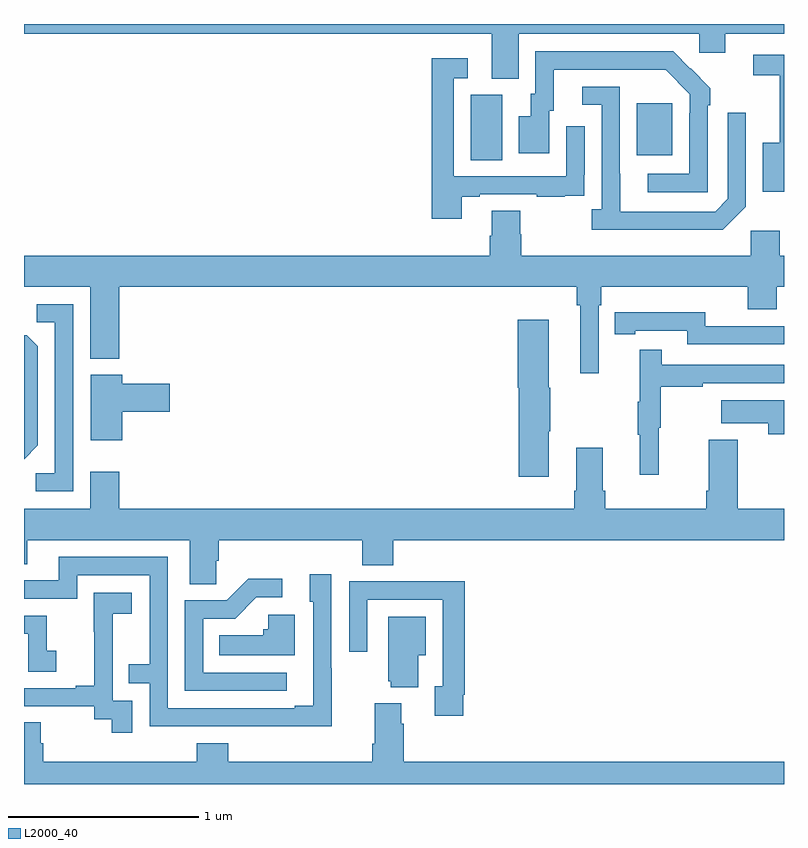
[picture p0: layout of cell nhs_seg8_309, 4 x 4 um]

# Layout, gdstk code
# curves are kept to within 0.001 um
import gdstk
lib = gdstk.Library(unit=1e-6, precision=1e-09)
def R(c, l, rs):  # rectangles x0, y0, x1, y1
    for r in rs: c.add(gdstk.rectangle(r[:2], r[2:], *l))
def P(c, l, *ps):  # polygons
    for p in ps: c.add(gdstk.Polygon(p, *l))
L2000_40 = (2000, 40)

nhs_seg8_309 = lib.new_cell('nhs_seg8_309')
R(nhs_seg8_309, L2000_40, [(133.352,1101.184,133.516,1101.528), (134.225,1101.209,134.413,1101.484)])
P(nhs_seg8_309, L2000_40, [(133.603,1101.848),(134.553,1101.848),(134.553,1101.75),(134.692,1101.75),(134.692,1101.848),(135,1101.848),(135,1101.9),(131,1101.9),(131,1101.848),(133.463,1101.848),(133.463,1101.613),(133.603,1101.613)],
  [(134.598,1101.473),(134.613,1101.473),(134.613,1101.561),(134.416,1101.756),(133.692,1101.756),(133.692,1101.534),(133.667,1101.534),(133.667,1101.415),(133.604,1101.415),(133.604,1101.219),(133.765,1101.219),(133.765,1101.444),(133.789,1101.444),(133.789,1101.66),(134.377,1101.66),(134.505,1101.531),(134.505,1101.431),(134.502,1101.431),(134.502,1101.111),(134.283,1101.111),(134.283,1101.015),(134.598,1101.015)],
  [(135,1101.738),(134.838,1101.738),(134.838,1101.63),(134.978,1101.63),(134.978,1101.274),(134.888,1101.274),(134.888,1101.017),(135,1101.017)],
  [(133.303,1100.991),(133.399,1100.991),(133.399,1101.003),(133.699,1101.003),(133.699,1100.991),(133.847,1100.991),(133.847,1100.997),(133.949,1100.997),(133.949,1101.106),(133.95,1101.106),(133.95,1101.361),(133.854,1101.361),(133.854,1101.099),(133.263,1101.099),(133.263,1101.615),(133.336,1101.615),(133.336,1101.721),(133.147,1101.721),(133.147,1100.874),(133.303,1100.874)],
  [(134.799,1100.937),(134.799,1101.433),(134.703,1101.433),(134.703,1100.979),(134.637,1100.913),(134.137,1100.913),(134.136,1101.57),(133.938,1101.57),(133.938,1101.474),(134.04,1101.474),(134.04,1100.926),(133.989,1100.926),(133.989,1100.816),(134.678,1100.816)],
  [(134.826,1100.812),(134.826,1100.68),(133.616,1100.68),(133.616,1100.793),(133.611,1100.793),(133.611,1100.918),(133.463,1100.918),(133.463,1100.786),(133.451,1100.786),(133.451,1100.68),(131,1100.68),(131,1100.516),(131.348,1100.516),(131.348,1100.138),(131.501,1100.138),(131.501,1100.516),(133.909,1100.516),(133.909,1100.42),(133.928,1100.42),(133.928,1100.061),(134.025,1100.061),(134.025,1100.42),(134.039,1100.42),(134.039,1100.516),(134.81,1100.516),(134.81,1100.399),(134.963,1100.399),(134.963,1100.516),(135,1100.516),(135,1100.68),(134.978,1100.68),(134.978,1100.812)],
  [(131.259,1100.424),(131.068,1100.424),(131.068,1100.329),(131.163,1100.329),(131.163,1099.536),(131.061,1099.536),(131.061,1099.44),(131.259,1099.44)],
  [(135,1100.31),(134.586,1100.31),(134.586,1100.383),(134.218,1100.383),(134.218,1100.382),(134.11,1100.382),(134.11,1100.266),(134.218,1100.266),(134.218,1100.286),(134.49,1100.286),(134.49,1100.214),(135,1100.214)],
  [(133.762,1099.756),(133.77,1099.756),(133.77,1099.986),(133.762,1099.986),(133.762,1100.344),(133.598,1100.344),(133.598,1099.986),(133.604,1099.986),(133.604,1099.518),(133.762,1099.518)],
  [(131.073,1099.682),(131.073,1100.204),(131.014,1100.263),(131,1100.263),(131,1099.609)],
  [(134.342,1099.776),(134.35,1099.776),(134.35,1099.99),(134.573,1099.99),(134.573,1100.01),(135,1100.01),(135,1100.106),(134.357,1100.106),(134.357,1100.185),(134.24,1100.185),(134.24,1099.913),(134.229,1099.913),(134.229,1099.739),(134.24,1099.739),(134.24,1099.527),(134.342,1099.527)],
  [(131.518,1099.859),(131.767,1099.859),(131.767,1100.006),(131.518,1100.006),(131.518,1100.053),(131.351,1100.053),(131.351,1099.71),(131.518,1099.71)],
  [(135,1099.921),(134.669,1099.921),(134.669,1099.799),(134.918,1099.799),(134.918,1099.74),(135,1099.74)],
  [(132.012,1099.075),(132.026,1099.075),(132.026,1099.184),(132.779,1099.184),(132.779,1099.051),(132.944,1099.051),(132.944,1099.184),(135,1099.184),(135,1099.348),(134.756,1099.348),(134.756,1099.711),(134.603,1099.711),(134.603,1099.444),(134.591,1099.444),(134.591,1099.348),(134.06,1099.348),(134.06,1099.444),(134.047,1099.444),(134.047,1099.669),(133.907,1099.669),(133.907,1099.444),(133.895,1099.444),(133.895,1099.348),(131.501,1099.348),(131.501,1099.543),(131.348,1099.543),(131.348,1099.348),(131,1099.348),(131,1099.057),(131.017,1099.057),(131.017,1099.184),(131.873,1099.184),(131.873,1098.952),(132.012,1098.952)],
  [(132.621,1098.509),(132.618,1098.509),(132.618,1099.003),(132.503,1099.003),(132.503,1098.858),(132.522,1098.858),(132.522,1098.313),(132.425,1098.313),(132.425,1098.3),(131.757,1098.3),(131.757,1099.095),(131.183,1099.095),(131.183,1098.972),(131,1098.972),(131,1098.876),(131.28,1098.876),(131.28,1098.999),(131.661,1098.999),(131.661,1098.53),(131.551,1098.53),(131.551,1098.429),(131.661,1098.429),(131.661,1098.204),(132.157,1098.204),(132.157,1098.203),(132.621,1098.203)],
  [(132.382,1098.486),(131.943,1098.486),(131.943,1098.771),(132.112,1098.771),(132.223,1098.882),(132.358,1098.882),(132.358,1098.98),(132.179,1098.98),(132.066,1098.867),(131.847,1098.867),(131.847,1098.39),(132.382,1098.39)],
  [(133.312,1098.37),(133.319,1098.37),(133.319,1098.968),(133.027,1098.968),(133.027,1098.966),(132.711,1098.966),(132.711,1098.597),(132.807,1098.597),(132.807,1098.87),(133.203,1098.87),(133.203,1098.414),(133.163,1098.414),(133.163,1098.258),(133.312,1098.258)],
  [(131.571,1098.339),(131.466,1098.339),(131.466,1098.569),(131.468,1098.569),(131.468,1098.797),(131.566,1098.797),(131.566,1098.907),(131.368,1098.907),(131.368,1098.701),(131.369,1098.701),(131.369,1098.418),(131.273,1098.418),(131.273,1098.405),(131,1098.405),(131,1098.309),(131.37,1098.309),(131.37,1098.241),(131.463,1098.241),(131.463,1098.171),(131.571,1098.171)],
  [(132.424,1098.79),(132.285,1098.79),(132.285,1098.714),(132.259,1098.714),(132.259,1098.682),(132.028,1098.682),(132.028,1098.578),(132.424,1098.578)],
  [(131.17,1098.601),(131.121,1098.601),(131.121,1098.786),(131,1098.786),(131,1098.69),(131.022,1098.69),(131.022,1098.492),(131.17,1098.492)],
  [(133.075,1098.578),(133.114,1098.578),(133.114,1098.781),(132.917,1098.781),(132.917,1098.441),(132.929,1098.441),(132.929,1098.41),(133.075,1098.41)],
  [(131.102,1098.114),(131.089,1098.114),(131.089,1098.224),(131,1098.224),(131,1097.9),(135,1097.9),(135,1098.016),(132.998,1098.016),(132.998,1098.218),(132.985,1098.218),(132.985,1098.325),(132.845,1098.325),(132.845,1098.112),(132.833,1098.112),(132.833,1098.016),(132.074,1098.016),(132.074,1098.115),(131.909,1098.115),(131.909,1098.016),(131.102,1098.016)])

lib.write_gds('nhs_seg8_309.gds')
